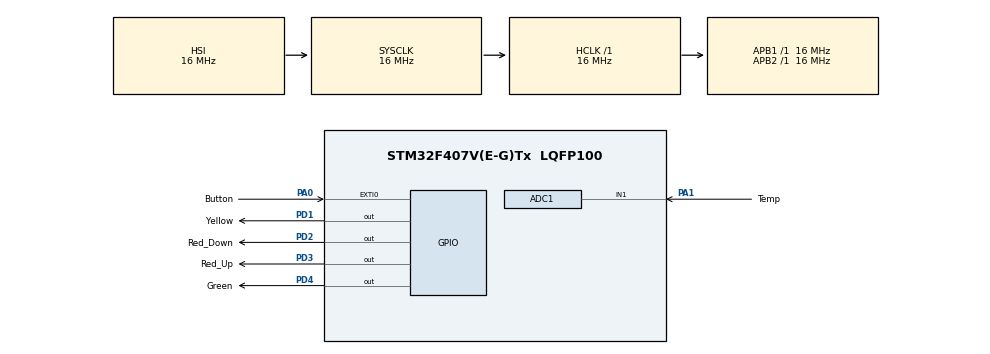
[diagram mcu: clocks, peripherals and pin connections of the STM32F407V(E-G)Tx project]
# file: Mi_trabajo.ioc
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ADC1.Channel-1\#ChannelRegularConversion=ADC_CHANNEL_1
ADC1.NbrOfConversionFlag=1
ADC1.Rank-1\#ChannelRegularConversion=1
ADC1.Resolution=ADC_RESOLUTION_8B
ADC1.SamplingTime-1\#ChannelRegularConversion=ADC_SAMPLETIME_3CYCLES
ADC1.master=1
Mcu.Family=STM32F4
Mcu.Name=STM32F407V(E-G)Tx
Mcu.Package=LQFP100
NVIC.EXTI0_IRQn=true\:0\:0\:false\:false\:true\:true\:true
NVIC.PriorityGroup=NVIC_PRIORITYGROUP_4
PA0-WKUP.GPIO_Label=Button
PA0-WKUP.Signal=GPXTI0
PA1.GPIO_Label=Temp
PA1.Signal=ADCx_IN1
PD1.GPIO_Label=Yellow
PD1.Signal=GPIO_Output
PD2.GPIO_Label=Red_Down
PD2.GPIO_PuPd=GPIO_PULLDOWN
PD2.Signal=GPIO_Output
PD3.GPIO_Label=Red_Up
PD3.Signal=GPIO_Output
PD4.GPIO_Label=Green
PD4.Signal=GPIO_Output
ProjectManager.HeapSize=0x200
ProjectManager.StackSize=0x400
ProjectManager.TargetToolchain=MDK-ARM V5.27
RCC.AHBFreq_Value=16000000
RCC.APB1Freq_Value=16000000
RCC.APB2Freq_Value=16000000
RCC.CortexFreq_Value=16000000
RCC.HSE_VALUE=25000000
RCC.HSI_VALUE=16000000
RCC.LSE_VALUE=32768
RCC.SYSCLKFreq_VALUE=16000000
RCC.VCOOutputFreq_Value=192000000
SH.ADCx_IN1.0=ADC1_IN1,IN1
board=custom

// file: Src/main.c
/* USER CODE BEGIN Header */
/**
  ******************************************************************************
  * @file           : main.c
  * @brief          : Main program body
  ******************************************************************************
  * @attention
  *
  * <h2><center>&copy; Copyright (c) 2020 STMicroelectronics.
  * All rights reserved.</center></h2>
  *
  * This software component is licensed by ST under BSD 3-Clause license,
  * the "License"; You may not use this file except in compliance with the
  * License. You may obtain a copy of the License at:
  *                        opensource.org/licenses/BSD-3-Clause
  *
  ******************************************************************************
  */
/* USER CODE END Header */

#include "main.h"

ADC_HandleTypeDef hadc1;
uint8_t ValorADC;
extern int ISR_flag;
int temporizador=0;

void SystemClock_Config(void);
static void MX_GPIO_Init(void);
static void MX_ADC1_Init(void);

int main(void)
{

  /* MCU Configuration--------------------------------------------------------*/

  /* Reset of all peripherals, Initializes the Flash interface and the Systick. */
  HAL_Init();

  /* Configure the system clock */
  SystemClock_Config();

  /* Initialize all configured peripherals */
  MX_GPIO_Init();
  MX_ADC1_Init();

  /* Infinite loop */
  while (1)
  {

    /* USER CODE BEGIN 3 */

    /* USER CODE END WHILE */
		/* USER CODE BEGIN 3 */

		HAL_ADC_Start(&hadc1); //Inicializamos el convertidor
		HAL_ADC_PollForConversion(&hadc1, 5);
		ValorADC=HAL_ADC_GetValue(&hadc1); //Leemos el dato y lo guardamos en nuestra variable
		HAL_ADC_Stop(&hadc1); //Paramos el convertidor
		HAL_Delay(50); //Esperamos un momento antes de volver a repetir

		//La temperatura es menor de la debida
		if(ValorADC<=20)
		{
			HAL_GPIO_WritePin(GPIOD, Red_Up_Pin, 0);
			HAL_GPIO_WritePin(GPIOD, Green_Pin, 0);
			HAL_GPIO_WritePin(GPIOD, Red_Down_Pin, 1);
		}
		//La temperatura es la ideal
		else if(ValorADC>20 && ValorADC<30)
		{
			HAL_GPIO_WritePin(GPIOD, Red_Up_Pin, 0);
			HAL_GPIO_WritePin(GPIOD, Green_Pin, 1);
			HAL_GPIO_WritePin(GPIOD, Red_Down_Pin, 0);
		}
		//La temperatura es mayor de la debida
		else if(ValorADC>=30)
		{
			HAL_GPIO_WritePin(GPIOD, Red_Up_Pin, 1);
			HAL_GPIO_WritePin(GPIOD, Green_Pin, 0);
			HAL_GPIO_WritePin(GPIOD, Red_Down_Pin, 0);
		}

		//Se activa el ventilador mediante el pulsador
		if (ISR_flag==1 && temporizador==0)
		{
			HAL_GPIO_WritePin(GPIOD, Yellow_Pin, 1);
		}
		//Se desactiva el ventilador si llega al tiempo limite o si se recupera la temperatura
		if(temporizador>9 || (ValorADC>20 && ValorADC<30))
		{
			HAL_GPIO_WritePin(GPIOD, Yellow_Pin, 0);
			ISR_flag=0;
			temporizador=0;
		}
		if(ISR_flag==1)
			temporizador++;

		HAL_Delay(100); //Esperamos un momento antes de volver a repetir

    /* USER CODE BEGIN 3 */
  }
  /* USER CODE END 3 */
}

void SystemClock_Config(void)
{
  RCC_OscInitTypeDef RCC_OscInitStruct = {0};
  RCC_ClkInitTypeDef RCC_ClkInitStruct = {0};

  /** Configure the main internal regulator output voltage
  */
  __HAL_RCC_PWR_CLK_ENABLE();
  __HAL_PWR_VOLTAGESCALING_CONFIG(PWR_REGULATOR_VOLTAGE_SCALE1);
  /** Initializes the CPU, AHB and APB busses clocks
  */
  RCC_OscInitStruct.OscillatorType = RCC_OSCILLATORTYPE_HSI;
  RCC_OscInitStruct.HSIState = RCC_HSI_ON;
  RCC_OscInitStruct.HSICalibrationValue = RCC_HSICALIBRATION_DEFAULT;
  RCC_OscInitStruct.PLL.PLLState = RCC_PLL_NONE;
  if (HAL_RCC_OscConfig(&RCC_OscInitStruct) != HAL_OK)
  {
    Error_Handler();
  }
  /** Initializes the CPU, AHB and APB busses clocks
  */
  RCC_ClkInitStruct.ClockType = RCC_CLOCKTYPE_HCLK|RCC_CLOCKTYPE_SYSCLK
                              |RCC_CLOCKTYPE_PCLK1|RCC_CLOCKTYPE_PCLK2;
  RCC_ClkInitStruct.SYSCLKSource = RCC_SYSCLKSOURCE_HSI;
  RCC_ClkInitStruct.AHBCLKDivider = RCC_SYSCLK_DIV1;
  RCC_ClkInitStruct.APB1CLKDivider = RCC_HCLK_DIV1;
  RCC_ClkInitStruct.APB2CLKDivider = RCC_HCLK_DIV1;

  if (HAL_RCC_ClockConfig(&RCC_ClkInitStruct, FLASH_LATENCY_0) != HAL_OK)
  {
    Error_Handler();
  }
}

static void MX_ADC1_Init(void)
{

  ADC_ChannelConfTypeDef sConfig = {0};

  /** Configure the global features of the ADC (Clock, Resolution, Data Alignment and number of conversion)
  */
  hadc1.Instance = ADC1;
  hadc1.Init.ClockPrescaler = ADC_CLOCK_SYNC_PCLK_DIV2;
  hadc1.Init.Resolution = ADC_RESOLUTION_8B;
  hadc1.Init.ScanConvMode = DISABLE;
  hadc1.Init.ContinuousConvMode = DISABLE;
  hadc1.Init.DiscontinuousConvMode = DISABLE;
  hadc1.Init.ExternalTrigConvEdge = ADC_EXTERNALTRIGCONVEDGE_NONE;
  hadc1.Init.ExternalTrigConv = ADC_SOFTWARE_START;
  hadc1.Init.DataAlign = ADC_DATAALIGN_RIGHT;
  hadc1.Init.NbrOfConversion = 1;
  hadc1.Init.DMAContinuousRequests = DISABLE;
  hadc1.Init.EOCSelection = ADC_EOC_SINGLE_CONV;
  if (HAL_ADC_Init(&hadc1) != HAL_OK)
  {
    Error_Handler();
  }
  /** Configure for the selected ADC regular channel its corresponding rank in the sequencer and its sample time.
  */
  sConfig.Channel = ADC_CHANNEL_1;
  sConfig.Rank = 1;
  sConfig.SamplingTime = ADC_SAMPLETIME_3CYCLES;
  if (HAL_ADC_ConfigChannel(&hadc1, &sConfig) != HAL_OK)
  {
    Error_Handler();
  }

}

static void MX_GPIO_Init(void)
{
  GPIO_InitTypeDef GPIO_InitStruct = {0};

  /* GPIO Ports Clock Enable */
  __HAL_RCC_GPIOA_CLK_ENABLE();
  __HAL_RCC_GPIOD_CLK_ENABLE();

  /*Configure GPIO pin Output Level */
  HAL_GPIO_WritePin(GPIOD, Yellow_Pin|Red_Down_Pin|Red_Up_Pin|Green_Pin, GPIO_PIN_RESET);

  /*Configure GPIO pin : Button_Pin */
  GPIO_InitStruct.Pin = Button_Pin;
  GPIO_InitStruct.Mode = GPIO_MODE_IT_RISING;
  GPIO_InitStruct.Pull = GPIO_NOPULL;
  HAL_GPIO_Init(Button_GPIO_Port, &GPIO_InitStruct);

  /*Configure GPIO pins : Yellow_Pin Red_Up_Pin Green_Pin */
  GPIO_InitStruct.Pin = Yellow_Pin|Red_Up_Pin|Green_Pin;
  GPIO_InitStruct.Mode = GPIO_MODE_OUTPUT_PP;
  GPIO_InitStruct.Pull = GPIO_NOPULL;
  GPIO_InitStruct.Speed = GPIO_SPEED_FREQ_LOW;
  HAL_GPIO_Init(GPIOD, &GPIO_InitStruct);

  /*Configure GPIO pin : Red_Down_Pin */
  GPIO_InitStruct.Pin = Red_Down_Pin;
  GPIO_InitStruct.Mode = GPIO_MODE_OUTPUT_PP;
  GPIO_InitStruct.Pull = GPIO_PULLDOWN;
  GPIO_InitStruct.Speed = GPIO_SPEED_FREQ_LOW;
  HAL_GPIO_Init(Red_Down_GPIO_Port, &GPIO_InitStruct);

  /* EXTI interrupt init*/
  HAL_NVIC_SetPriority(EXTI0_IRQn, 0, 0);
  HAL_NVIC_EnableIRQ(EXTI0_IRQn);

}

void Error_Handler(void)
{
}

/************************ (C) COPYRIGHT STMicroelectronics *****END OF FILE****/
